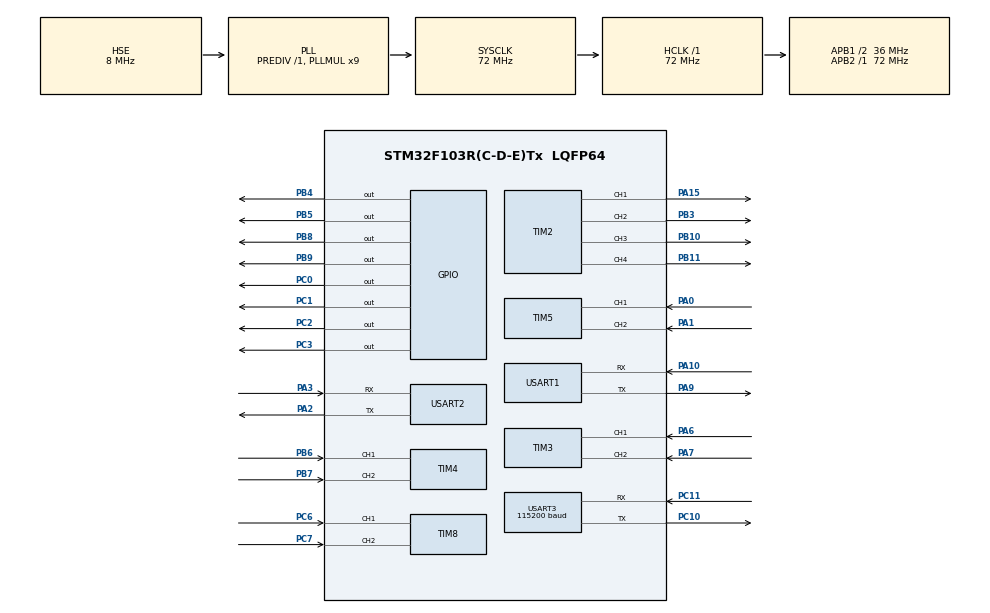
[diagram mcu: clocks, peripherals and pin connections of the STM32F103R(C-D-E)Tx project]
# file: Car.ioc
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Dma.Request0=USART3_RX
Dma.Request1=USART3_TX
Dma.USART3_RX.0.Direction=DMA_PERIPH_TO_MEMORY
Dma.USART3_RX.0.Instance=DMA1_Channel3
Dma.USART3_RX.0.MemDataAlignment=DMA_MDATAALIGN_BYTE
Dma.USART3_RX.0.MemInc=DMA_MINC_ENABLE
Dma.USART3_RX.0.Mode=DMA_NORMAL
Dma.USART3_RX.0.PeriphDataAlignment=DMA_PDATAALIGN_BYTE
Dma.USART3_RX.0.PeriphInc=DMA_PINC_DISABLE
Dma.USART3_RX.0.Priority=DMA_PRIORITY_LOW
Dma.USART3_TX.1.Direction=DMA_MEMORY_TO_PERIPH
Dma.USART3_TX.1.Instance=DMA1_Channel2
Dma.USART3_TX.1.MemDataAlignment=DMA_MDATAALIGN_BYTE
Dma.USART3_TX.1.MemInc=DMA_MINC_ENABLE
Dma.USART3_TX.1.Mode=DMA_NORMAL
Dma.USART3_TX.1.PeriphDataAlignment=DMA_PDATAALIGN_BYTE
Dma.USART3_TX.1.PeriphInc=DMA_PINC_DISABLE
Dma.USART3_TX.1.Priority=DMA_PRIORITY_LOW
Mcu.Family=STM32F1
Mcu.Name=STM32F103R(C-D-E)Tx
Mcu.Package=LQFP64
NVIC.DMA1_Channel2_IRQn=true\:0\:0\:false\:false\:true\:true\:true\:true
NVIC.DMA1_Channel3_IRQn=true\:0\:0\:false\:false\:true\:true\:true\:true
NVIC.PriorityGroup=NVIC_PRIORITYGROUP_4
NVIC.TIM1_UP_IRQn=true\:1\:0\:true\:false\:true\:true\:true\:true
NVIC.USART1_IRQn=true\:0\:0\:true\:false\:true\:true\:true\:true
NVIC.USART2_IRQn=true\:0\:0\:false\:false\:true\:true\:true\:true
NVIC.USART3_IRQn=true\:0\:0\:false\:false\:true\:true\:true\:true
PA0-WKUP.Signal=S_TIM5_CH1
PA1.Signal=S_TIM5_CH2
PA10.GPIO_PuPd=GPIO_PULLUP
PA10.Mode=Asynchronous
PA10.Signal=USART1_RX
PA13.Mode=Serial_Wire
PA13.Signal=SYS_JTMS-SWDIO
PA14.Mode=Serial_Wire
PA14.Signal=SYS_JTCK-SWCLK
PA15.Signal=S_TIM2_CH1_ETR
PA2.Mode=Asynchronous
PA2.Signal=USART2_TX
PA3.GPIO_PuPd=GPIO_PULLUP
PA3.Mode=Asynchronous
PA3.Signal=USART2_RX
PA6.Signal=S_TIM3_CH1
PA7.Signal=S_TIM3_CH2
PA9.Mode=Asynchronous
PA9.Signal=USART1_TX
PB10.Signal=S_TIM2_CH3
PB11.Signal=S_TIM2_CH4
PB3.Signal=S_TIM2_CH2
PB4.Signal=GPIO_Output
PB5.Signal=GPIO_Output
PB6.Signal=S_TIM4_CH1
PB7.Signal=S_TIM4_CH2
PB8.Signal=GPIO_Output
PB9.Signal=GPIO_Output
PC0.Signal=GPIO_Output
PC1.Signal=GPIO_Output
PC10.Mode=Asynchronous
PC10.Signal=USART3_TX
PC11.GPIO_PuPd=GPIO_PULLUP
PC11.Mode=Asynchronous
PC11.Signal=USART3_RX
PC2.Signal=GPIO_Output
PC3.Signal=GPIO_Output
PC6.Signal=S_TIM8_CH1
PC7.Signal=S_TIM8_CH2
PD0-OSC_IN.Mode=HSE-External-Oscillator
PD0-OSC_IN.Signal=RCC_OSC_IN
PD1-OSC_OUT.Mode=HSE-External-Oscillator
PD1-OSC_OUT.Signal=RCC_OSC_OUT
ProjectManager.HeapSize=0x200
ProjectManager.StackSize=0x400
ProjectManager.TargetToolchain=MDK-ARM V5.32
RCC.AHBFreq_Value=72000000
RCC.APB1CLKDivider=RCC_HCLK_DIV2
RCC.APB1Freq_Value=36000000
RCC.APB1TimFreq_Value=72000000
RCC.APB2Freq_Value=72000000
RCC.APB2TimFreq_Value=72000000
RCC.HCLKFreq_Value=72000000
RCC.PLLMUL=RCC_PLL_MUL9
RCC.PLLSourceVirtual=RCC_PLLSOURCE_HSE
RCC.SYSCLKFreq_VALUE=72000000
RCC.SYSCLKSource=RCC_SYSCLKSOURCE_PLLCLK
RCC.USBFreq_Value=72000000
SH.S_TIM2_CH1_ETR.0=TIM2_CH1,PWM Generation1 CH1
SH.S_TIM2_CH2.0=TIM2_CH2,PWM Generation2 CH2
SH.S_TIM2_CH3.0=TIM2_CH3,PWM Generation3 CH3
SH.S_TIM2_CH4.0=TIM2_CH4,PWM Generation4 CH4
SH.S_TIM3_CH1.0=TIM3_CH1,Encoder_Interface
SH.S_TIM3_CH2.0=TIM3_CH2,Encoder_Interface
SH.S_TIM4_CH1.0=TIM4_CH1,Encoder_Interface
SH.S_TIM4_CH2.0=TIM4_CH2,Encoder_Interface
SH.S_TIM5_CH1.0=TIM5_CH1,Encoder_Interface
SH.S_TIM5_CH2.0=TIM5_CH2,Encoder_Interface
SH.S_TIM8_CH1.0=TIM8_CH1,Encoder_Interface
SH.S_TIM8_CH2.0=TIM8_CH2,Encoder_Interface
TIM1.AutoReloadPreload=TIM_AUTORELOAD_PRELOAD_ENABLE
TIM1.Period=10000-1
TIM1.Prescaler=72-1
TIM2.Channel-PWM\ Generation1\ CH1=TIM_CHANNEL_1
TIM2.Channel-PWM\ Generation2\ CH2=TIM_CHANNEL_2
TIM2.Channel-PWM\ Generation3\ CH3=TIM_CHANNEL_3
TIM2.Channel-PWM\ Generation4\ CH4=TIM_CHANNEL_4
TIM3.EncoderMode=TIM_ENCODERMODE_TI12
TIM3.IC1Filter=2
TIM3.IC2Filter=2
TIM4.EncoderMode=TIM_ENCODERMODE_TI12
TIM4.IC1Filter=2
TIM4.IC2Filter=2
TIM5.EncoderMode=TIM_ENCODERMODE_TI12
TIM5.IC1Filter=2
TIM5.IC2Filter=2
TIM8.EncoderMode=TIM_ENCODERMODE_TI12
TIM8.IC1Filter=2
TIM8.IC2Filter=2
USART1.VirtualMode=VM_ASYNC
USART2.VirtualMode=VM_ASYNC
USART3.BaudRate=115200
USART3.VirtualMode=VM_ASYNC
VP_TIM1_VS_ClockSourceINT.Mode=Internal
board=custom

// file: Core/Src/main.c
/* USER CODE BEGIN Header */
/**
  ******************************************************************************
  * @file           : main.c
  * @brief          : Main program body
  ******************************************************************************
  * @attention
  *
  * Copyright (c) 2023 STMicroelectronics.
  * All rights reserved.
  *
  * This software is licensed under terms that can be found in the LICENSE file
  * in the root directory of this software component.
  * If no LICENSE file comes with this software, it is provided AS-IS.
  *
  ******************************************************************************
  */
/* USER CODE END Header */
#include "main.h"
#include "dma.h"
#include "tim.h"
#include "usart.h"
#include "gpio.h"

/* USER CODE BEGIN Includes */
#include "system.h"
#include "motor.h"
#include "servo.h"
#include "track.h"
/* USER CODE END Includes */

/* USER CODE BEGIN PV */
uint8_t UART1_RX;
uint8_t Servo_Control_State = SERVO_0_GET;
uint8_t init_flag = 0;
/* USER CODE END PV */

void SystemClock_Config(void);

int main(void)
{

  /* MCU Configuration--------------------------------------------------------*/

  /* Reset of all peripherals, Initializes the Flash interface and the Systick. */
  HAL_Init();

  /* Configure the system clock */
  SystemClock_Config();

  /* Initialize all configured peripherals */
  MX_GPIO_Init();
  MX_DMA_Init();
  MX_TIM1_Init();
  MX_TIM2_Init();
  MX_TIM3_Init();
  MX_TIM4_Init();
  MX_TIM5_Init();
  MX_TIM8_Init();
  MX_USART3_UART_Init();
  MX_USART1_UART_Init();
  MX_USART2_UART_Init();
  /* USER CODE BEGIN 2 */
  Motor_Init();
  Track_Init();
  Servo_Init();
	Servo_Set_Control_Mode(SERVO_CONTROL_BY_ANGLE);
	Move_X = 0;
  HAL_TIM_Base_Start_IT(&PERIOD_INTERRUPT_TIM_HANDLER);
  HAL_UART_Receive_IT(&huart1, &UART1_RX, 1);
  HAL_UART_Receive_IT(&TRACK_TASK_UART_HANDLER, &Track_UART_Rx_Byte, 1);
  HAL_UART_Receive_DMA(&SERVO_UART_HANDLER, Servo_0.Response_UART_Rx.Response_Temp, 10);
	HAL_Delay(20);
	Servo_Set_PWM(Servo_0, Servo_0.Target_PWM);
	HAL_Delay(20);
	Servo_Set_PWM(Servo_1, Servo_1.Target_PWM);
	HAL_Delay(2000);

	init_flag = 1;
  /* USER CODE END 2 */

  /* Infinite loop */
  while (1)
  {

  }
}

void SystemClock_Config(void)
{
  RCC_OscInitTypeDef RCC_OscInitStruct = {0};
  RCC_ClkInitTypeDef RCC_ClkInitStruct = {0};

  /** Initializes the RCC Oscillators according to the specified parameters
  * in the RCC_OscInitTypeDef structure.
  */
  RCC_OscInitStruct.OscillatorType = RCC_OSCILLATORTYPE_HSE;
  RCC_OscInitStruct.HSEState = RCC_HSE_ON;
  RCC_OscInitStruct.HSEPredivValue = RCC_HSE_PREDIV_DIV1;
  RCC_OscInitStruct.HSIState = RCC_HSI_ON;
  RCC_OscInitStruct.PLL.PLLState = RCC_PLL_ON;
  RCC_OscInitStruct.PLL.PLLSource = RCC_PLLSOURCE_HSE;
  RCC_OscInitStruct.PLL.PLLMUL = RCC_PLL_MUL9;
  if (HAL_RCC_OscConfig(&RCC_OscInitStruct) != HAL_OK)
  {
    Error_Handler();
  }

  /** Initializes the CPU, AHB and APB buses clocks
  */
  RCC_ClkInitStruct.ClockType = RCC_CLOCKTYPE_HCLK|RCC_CLOCKTYPE_SYSCLK
                              |RCC_CLOCKTYPE_PCLK1|RCC_CLOCKTYPE_PCLK2;
  RCC_ClkInitStruct.SYSCLKSource = RCC_SYSCLKSOURCE_PLLCLK;
  RCC_ClkInitStruct.AHBCLKDivider = RCC_SYSCLK_DIV1;
  RCC_ClkInitStruct.APB1CLKDivider = RCC_HCLK_DIV2;
  RCC_ClkInitStruct.APB2CLKDivider = RCC_HCLK_DIV1;

  if (HAL_RCC_ClockConfig(&RCC_ClkInitStruct, FLASH_LATENCY_2) != HAL_OK)
  {
    Error_Handler();
  }
}

/* USER CODE BEGIN 4 */
void HAL_TIM_PeriodElapsedCallback(TIM_HandleTypeDef *htim)  // 10ms
{
	if (init_flag)
	{
		if (htim == &PERIOD_INTERRUPT_TIM_HANDLER)
		{
			Determine_Angle();

			Measure_Motor_Speed();
			Solve_Speed(Move_X, Move_Y, Move_Z);
			Update_Motor_PID();
			Motor_Set_PWM();

			switch (Servo_Control_State)
			{
			case SERVO_0_GET:
				Servo_Get_Position(Servo_0);
				HAL_UARTEx_ReceiveToIdle_DMA(&SERVO_UART_HANDLER, Servo_0.Response_UART_Rx.Response_Temp, 10);
				break;

			case SERVO_0_SET:
				if (Servo_Control_Mode == SERVO_CONTROL_BY_PWM)
				{
					Servo_Set_PWM(Servo_0, Servo_0.Target_PWM);
				}
				else if (Servo_Control_Mode == SERVO_CONTROL_BY_ANGLE)
				{
					Servo_Set_Angle(Servo_0, Servo_0.Target_Angle);
				}
				Servo_Control_State = SERVO_1_GET;
				break;

			case SERVO_1_GET:
				Servo_Get_Position(Servo_1);
				HAL_UARTEx_ReceiveToIdle_DMA(&SERVO_UART_HANDLER, Servo_1.Response_UART_Rx.Response_Temp, 10);
				break;

			case SERVO_1_SET:
				if (Servo_Control_Mode == SERVO_CONTROL_BY_PWM)
				{
					Servo_Set_PWM(Servo_1, Servo_1.Target_PWM);
				}
				else if (Servo_Control_Mode == SERVO_CONTROL_BY_ANGLE)
				{
					Servo_Set_Angle(Servo_1, Servo_1.Target_Angle);
				}
				Servo_Control_State = SERVO_0_GET;
				break;

			default:
				Servo_Control_State = SERVO_0_GET;
				break;
			}
		}
	}
}

void HAL_UART_RxCpltCallback(UART_HandleTypeDef *huart)
{
	if (init_flag)
	{
		if (huart == &huart1)
		{
			HAL_UART_Receive_IT(&huart1, &UART1_RX, 1);
		}
		else if (huart == &TRACK_TASK_UART_HANDLER)
		{
			Coordinates_UART_Rx_Byte();
			HAL_UART_Receive_IT(&TRACK_TASK_UART_HANDLER, &Track_UART_Rx_Byte, 1);
		}
		else if (huart == &SERVO_UART_HANDLER)
		{
			switch (Servo_Control_State)
			{
			case SERVO_0_GET:
				memcpy(Servo_0.Response_UART_Rx.Response, Servo_0.Response_UART_Rx.Response_Temp, 10);
				Servo_0.Current_PWM = Get_PWM_From_Response(Servo_0.Response_UART_Rx.Response);
				Servo_0.Current_Angle = (Servo_0.Current_PWM-500)*(Servo_0.Angle_Max - Servo_0.Angle_Min)/(Servo_0.PWM_Max - Servo_0.PWM_Min) -135;
				HAL_UART_Receive_DMA(&SERVO_UART_HANDLER, Servo_1.Response_UART_Rx.Response_Temp, 10);
				Servo_Control_State = SERVO_0_SET;
				break;

			case SERVO_1_GET:
				memcpy(Servo_1.Response_UART_Rx.Response, Servo_1.Response_UART_Rx.Response_Temp, 10);
				Servo_1.Current_PWM = Get_PWM_From_Response(Servo_1.Response_UART_Rx.Response);
        Servo_1.Current_Angle = (Servo_1.Current_PWM-500)*(Servo_1.Angle_Max - Servo_1.Angle_Min)/(Servo_1.PWM_Max - Servo_1.PWM_Min) -135;
				HAL_UART_Receive_DMA(&SERVO_UART_HANDLER, Servo_0.Response_UART_Rx.Response_Temp, 10);
				Servo_Control_State = SERVO_1_SET;
				break;

			default:
				//HAL_UARTEx_ReceiveToIdle_DMA(&SERVO_UART_HANDLER, Servo_1.Response_UART_Rx.Response_Temp, 10);
				break;
			}
		}
	}
}

//void HAL_UARTEx_RxEventCallback(UART_HandleTypeDef *huart, uint16_t Size)
//{
//  if (huart == &SERVO_UART_HANDLER)
//  {
//    switch (Servo_Control_State)
//    {
//    case SERVO_0_GET:
//      memcpy(Servo_0.Response_UART_Rx.Response, Servo_0.Response_UART_Rx.Response_Temp, 10);
//      Servo_0.Current_PWM = Get_PWM_From_Response(Servo_0.Response_UART_Rx.Response);
//      Servo_0.Current_Angle = (Servo_0.Current_PWM-500)*(Servo_0.Angle_Max - Servo_0.Angle_Min)/(Servo_0.PWM_Max - Servo_0.PWM_Min) -135;
//      HAL_UARTEx_ReceiveToIdle_DMA(&SERVO_UART_HANDLER, Servo_1.Response_UART_Rx.Response_Temp, 10);
//			Servo_Control_State = SERVO_0_SET;
//      break;

//    case SERVO_1_GET:
//      memcpy(Servo_1.Response_UART_Rx.Response, Servo_1.Response_UART_Rx.Response_Temp, 10);
//      Servo_1.Current_PWM = Get_PWM_From_Response(Servo_1.Response_UART_Rx.Response);
//      Servo_1.Current_Angle = (Servo_1.Angle_Max - Servo_1.Angle_Min) * (Servo_1.Current_PWM - Servo_1.PWM_Min) / (Servo_1.PWM_Max - Servo_1.PWM_Min) + Servo_1.Angle_Min;
//      HAL_UARTEx_ReceiveToIdle_DMA(&SERVO_UART_HANDLER, Servo_0.Response_UART_Rx.Response_Temp, 10);
//      Servo_Control_State = SERVO_1_SET;
//      break;
//
//    default:
//      //HAL_UARTEx_ReceiveToIdle_DMA(&SERVO_UART_HANDLER, Servo_1.Response_UART_Rx.Response_Temp, 10);
//      break;
//    }
//  }
//}
/* USER CODE END 4 */

void Error_Handler(void)
{
  __disable_irq();
  while (1)
  {
  }
}
